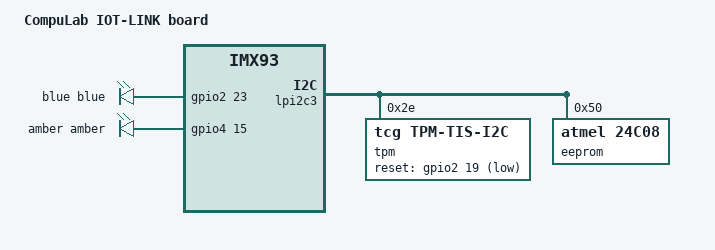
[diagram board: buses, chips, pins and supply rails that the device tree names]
// SPDX-License-Identifier: (GPL-2.0+ OR MIT)
// Copyright 2025 Compulab

/dts-v1/;

#include "cl-som-shared-imx93.dtsi"
#include <dt-bindings/leds/common.h>

/{
	model = "CompuLab IOT-LINK board";
	compatible = "compulab,iot-link", "fsl,imx93";

    leds {
        pinctrl-names = "default";
        pinctrl-0 = <&pinctrl_power_leds>;
        compatible = "gpio-leds";
        blue {
            color = <LED_COLOR_ID_BLUE>;
            gpios = <&gpio2 23 GPIO_ACTIVE_HIGH>;
            default-state = "on";
        };
        amber {
            color = <LED_COLOR_ID_AMBER>;
            gpios = <&gpio4 15 GPIO_ACTIVE_HIGH>;
            default-state = "off";
        };
    };
};

&iomuxc {
	pinctrl-0 = <&pinctrl_leds>;
	pinctrl_leds: ledsgrp {
		fsl,pins = <
			MX93_PAD_DAP_TCLK_SWCLK__GPIO3_IO30	0x31e
			MX93_PAD_DAP_TDO_TRACESWO__GPIO3_IO31	0x31e
		>;
	};
	pinctrl_power_leds: powerledsgrp {
		fsl,pins = <
			MX93_PAD_GPIO_IO23__GPIO2_IO23	0x31e
			MX93_PAD_ENET2_MDIO__GPIO4_IO15	0x31e
		>;
	};
};

&lpi2c3 {
        tpm@2e {
		compatible = "tcg,tpm-tis-i2c";
		reset-gpios = <&gpio2 19 GPIO_ACTIVE_LOW>;
                reg = <0x2e>;
        };

	eeprom@50 {
		compatible = "atmel,24c08";
		reg = <0x50>;
		pagesize = <16>;
	};
};

&ethphy1 {
    reg = <0>;
};
